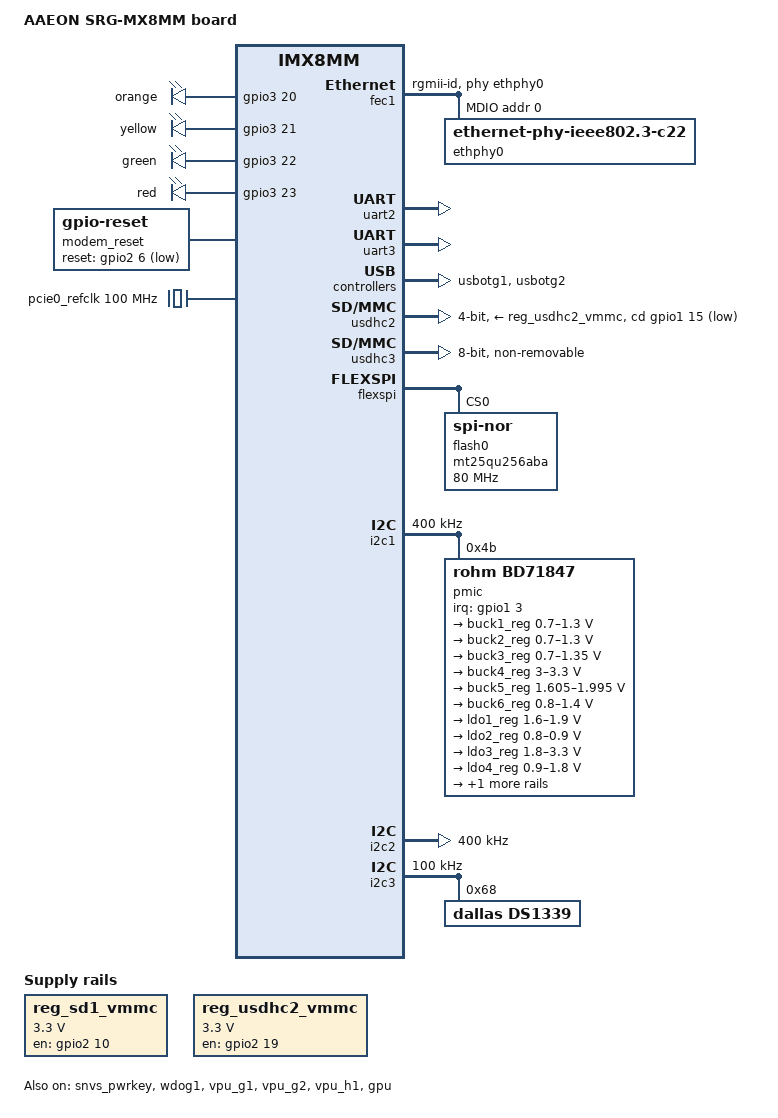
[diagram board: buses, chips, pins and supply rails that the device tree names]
// SPDX-License-Identifier: (GPL-2.0+ OR MIT)
/*
 * Copyright 2019 NXP
 */

/dts-v1/;

#include <dt-bindings/usb/pd.h>
#include "imx8mm.dtsi"

/ {
	model = "AAEON SRG-MX8MM board";
	compatible = "aaeon,srg-mx8mm", "fsl,imx8mm-evk", "fsl,imx8mm";

	reserved-memory {
		#address-cells = <2>;
		#size-cells = <2>;
		ranges;

		rpmsg_reserved: rpmsg@0xb8000000 {
			no-map;
			reg = <0 0xb8000000 0 0x400000>;
		};
	};

	chosen {
		stdout-path = &uart2;
	};

	leds {
		compatible = "gpio-leds";
		pinctrl-names = "default";
		pinctrl-0 = <&pinctrl_gpio_led>;

		orange {
			lable = "orange";
			default-state="none";
			gpios = <&gpio3 20 GPIO_ACTIVE_HIGH>;
		};

		yellow {
			lable = "yellow";
			default-state="none";
			gpios = <&gpio3 21 GPIO_ACTIVE_HIGH>;
		};

		green {
			lable = "green";
			default-state="none";
			gpios = <&gpio3 22 GPIO_ACTIVE_HIGH>;
		};

		red {
			lable = "red";
			default-state="none";
			gpios = <&gpio3 23 GPIO_ACTIVE_HIGH>;
		};
	};

	modem_reset: modem-reset {
		compatible = "gpio-reset";
		reset-gpios = <&gpio2 6 GPIO_ACTIVE_LOW>;
		reset-delay-us = <2000>;
		reset-post-delay-ms = <40>;
		#reset-cells = <0>;
	};

	pcie0_refclk: pcie0-refclk {
		compatible = "fixed-clock";
		#clock-cells = <0>;
		clock-frequency = <100000000>;
	};

	reg_sd1_vmmc: sd1_regulator {
		compatible = "regulator-fixed";
		regulator-name = "WLAN_EN";
		regulator-min-microvolt = <3300000>;
		regulator-max-microvolt = <3300000>;
		gpio = <&gpio2 10 GPIO_ACTIVE_HIGH>;
		off-on-delay-us = <20000>;
		startup-delay-us = <100>;
		enable-active-high;
	};

	reg_usdhc2_vmmc: regulator-usdhc2 {
		compatible = "regulator-fixed";
		pinctrl-names = "default";
		pinctrl-0 = <&pinctrl_reg_usdhc2_vmmc>;
		regulator-name = "VSD_3V3";
		regulator-min-microvolt = <3300000>;
		regulator-max-microvolt = <3300000>;
		gpio = <&gpio2 19 GPIO_ACTIVE_HIGH>;
		off-on-delay-us = <20000>;
		enable-active-high;
	};
};

&A53_0 {
	cpu-supply = <&buck2_reg>;
};

&fec1 {
	pinctrl-names = "default";
	pinctrl-0 = <&pinctrl_fec1>;
	phy-mode = "rgmii-id";
	phy-handle = <&ethphy0>;
	fsl,magic-packet;
	status = "okay";

	mdio {
		#address-cells = <1>;
		#size-cells = <0>;

		ethphy0: ethernet-phy@0 {
			compatible = "ethernet-phy-ieee802.3-c22";
			reg = <0>;
			at803x,eee-disabled;
			at803x,vddio-1p8v;
		};
	};
};

&pcie0{
	pinctrl-names = "default";
	pinctrl-0 = <&pinctrl_pcie0>;
	disable-gpio = <&gpio1 5 GPIO_ACTIVE_LOW>;
	reset-gpio = <&gpio4 21 GPIO_ACTIVE_LOW>;
	clocks = <&clk IMX8MM_CLK_PCIE1_ROOT>,
		 <&clk IMX8MM_CLK_PCIE1_AUX>,
		 <&clk IMX8MM_CLK_PCIE1_PHY>,
		 <&pcie0_refclk>;
	clock-names = "pcie", "pcie_aux", "pcie_phy", "pcie_bus";
	ext_osc = <1>;
	reserved-region = <&rpmsg_reserved>;
	status = "disabled";
};

&snvs_pwrkey {
	status = "okay";
};

&uart2 { /* console */
	pinctrl-names = "default";
	pinctrl-0 = <&pinctrl_uart2>;
	status = "okay";
};

&uart3 {
	pinctrl-names = "default";
	pinctrl-0 = <&pinctrl_uart3>;
	assigned-clocks = <&clk IMX8MM_CLK_UART3>;
	assigned-clock-parents = <&clk IMX8MM_SYS_PLL1_80M>;
	fsl,uart-has-rtscts;
	status = "okay";
};


&usbotg1 {
	status = "okay";
};

&usbotg2 {
	status = "okay";
};


&usdhc2 {
	pinctrl-names = "default", "state_100mhz", "state_200mhz";
	pinctrl-0 = <&pinctrl_usdhc2>, <&pinctrl_usdhc2_gpio>;
	pinctrl-1 = <&pinctrl_usdhc2_100mhz>, <&pinctrl_usdhc2_gpio>;
	pinctrl-2 = <&pinctrl_usdhc2_200mhz>, <&pinctrl_usdhc2_gpio>;
	cd-gpios = <&gpio1 15 GPIO_ACTIVE_LOW>;
	bus-width = <4>;
	vmmc-supply = <&reg_usdhc2_vmmc>;
	status = "okay";
};

&usdhc3 {
	pinctrl-names = "default", "state_100mhz", "state_200mhz";
	pinctrl-0 = <&pinctrl_usdhc3>;
	pinctrl-1 = <&pinctrl_usdhc3_100mhz>;
	pinctrl-2 = <&pinctrl_usdhc3_200mhz>;
	bus-width = <8>;
	non-removable;
	status = "okay";
};

&wdog1 {
	pinctrl-names = "default";
	pinctrl-0 = <&pinctrl_wdog>;
	fsl,ext-reset-output;
	status = "okay";
};

&flexspi {
	pinctrl-names = "default";
	pinctrl-0 = <&pinctrl_flexspi0>;
	status = "okay";

	flash0: mt25qu256aba@0 {
		reg = <0>;
		#address-cells = <1>;
		#size-cells = <1>;
		compatible = "jedec,spi-nor";
		spi-max-frequency = <80000000>;
		spi-tx-bus-width = <4>;
		spi-rx-bus-width = <4>;
	};
};

&i2c1 {
	clock-frequency = <400000>;
	pinctrl-names = "default";
	pinctrl-0 = <&pinctrl_i2c1>;
	status = "okay";

	pmic@4b {
		compatible = "rohm,bd71847";
		reg = <0x4b>;
		pinctrl-0 = <&pinctrl_pmic>;
		interrupt-parent = <&gpio1>;
		interrupts = <3 GPIO_ACTIVE_LOW>;
		rohm,reset-snvs-powered;

		regulators {
			buck1_reg: BUCK1 {
				regulator-name = "BUCK1";
				regulator-min-microvolt = <700000>;
				regulator-max-microvolt = <1300000>;
				regulator-boot-on;
				regulator-always-on;
				regulator-ramp-delay = <1250>;
			};

			buck2_reg: BUCK2 {
				regulator-name = "BUCK2";
				regulator-min-microvolt = <700000>;
				regulator-max-microvolt = <1300000>;
				regulator-boot-on;
				regulator-always-on;
				regulator-ramp-delay = <1250>;
				rohm,dvs-run-voltage = <1000000>;
				rohm,dvs-idle-voltage = <900000>;
			};

			buck3_reg: BUCK3 {
				// BUCK5 in datasheet
				regulator-name = "BUCK3";
				regulator-min-microvolt = <700000>;
				regulator-max-microvolt = <1350000>;
				regulator-boot-on;
				regulator-always-on;
			};

			buck4_reg: BUCK4 {
				// BUCK6 in datasheet
				regulator-name = "BUCK4";
				regulator-min-microvolt = <3000000>;
				regulator-max-microvolt = <3300000>;
				regulator-boot-on;
				regulator-always-on;
			};

			buck5_reg: BUCK5 {
				// BUCK7 in datasheet
				regulator-name = "BUCK5";
				regulator-min-microvolt = <1605000>;
				regulator-max-microvolt = <1995000>;
				regulator-boot-on;
				regulator-always-on;
			};

			buck6_reg: BUCK6 {
				// BUCK8 in datasheet
				regulator-name = "BUCK6";
				regulator-min-microvolt = <800000>;
				regulator-max-microvolt = <1400000>;
				regulator-boot-on;
				regulator-always-on;
			};

			ldo1_reg: LDO1 {
				regulator-name = "LDO1";
				regulator-min-microvolt = <1600000>;
				regulator-max-microvolt = <1900000>;
				regulator-boot-on;
				regulator-always-on;
			};

			ldo2_reg: LDO2 {
				regulator-name = "LDO2";
				regulator-min-microvolt = <800000>;
				regulator-max-microvolt = <900000>;
				regulator-boot-on;
				regulator-always-on;
			};

			ldo3_reg: LDO3 {
				regulator-name = "LDO3";
				regulator-min-microvolt = <1800000>;
				regulator-max-microvolt = <3300000>;
				regulator-boot-on;
				regulator-always-on;
			};

			ldo4_reg: LDO4 {
				regulator-name = "LDO4";
				regulator-min-microvolt = <900000>;
				regulator-max-microvolt = <1800000>;
				regulator-boot-on;
				regulator-always-on;
			};

			ldo6_reg: LDO6 {
				regulator-name = "LDO6";
				regulator-min-microvolt = <900000>;
				regulator-max-microvolt = <1800000>;
				regulator-boot-on;
				regulator-always-on;
			};
		};
	};
};

&i2c2 {
	clock-frequency = <400000>;
	pinctrl-names = "default";
	pinctrl-0 = <&pinctrl_i2c2>;
	status = "okay";
};

&i2c3 {
	clock-frequency = <100000>;
	pinctrl-names = "default";
	pinctrl-0 = <&pinctrl_i2c3>;
	status = "okay";

	ds1339: rtc@68 {
		compatible = "dallas,ds1339";
		trickle-resistor-ohms = <250>;
		reg = <0x68>;
		status = "okay";
	};
};

&iomuxc {
	pinctrl-names = "default";

	pinctrl_fec1: fec1grp {
		fsl,pins = <
			MX8MM_IOMUXC_ENET_MDC_ENET1_MDC			0x3
			MX8MM_IOMUXC_ENET_MDIO_ENET1_MDIO		0x3
			MX8MM_IOMUXC_ENET_TD3_ENET1_RGMII_TD3		0x1f
			MX8MM_IOMUXC_ENET_TD2_ENET1_RGMII_TD2		0x1f
			MX8MM_IOMUXC_ENET_TD1_ENET1_RGMII_TD1		0x1f
			MX8MM_IOMUXC_ENET_TD0_ENET1_RGMII_TD0		0x1f
			MX8MM_IOMUXC_ENET_RD3_ENET1_RGMII_RD3		0x91
			MX8MM_IOMUXC_ENET_RD2_ENET1_RGMII_RD2		0x91
			MX8MM_IOMUXC_ENET_RD1_ENET1_RGMII_RD1		0x91
			MX8MM_IOMUXC_ENET_RD0_ENET1_RGMII_RD0		0x91
			MX8MM_IOMUXC_ENET_TXC_ENET1_RGMII_TXC		0x1f
			MX8MM_IOMUXC_ENET_RXC_ENET1_RGMII_RXC		0x91
			MX8MM_IOMUXC_ENET_RX_CTL_ENET1_RGMII_RX_CTL	0x91
			MX8MM_IOMUXC_ENET_TX_CTL_ENET1_RGMII_TX_CTL	0x1f
			MX8MM_IOMUXC_SAI2_RXC_GPIO4_IO22			0x19
		>;
	};

	pinctrl_flexspi0: flexspi0grp {
		fsl,pins = <
			MX8MM_IOMUXC_NAND_ALE_QSPI_A_SCLK               0x1c2
			MX8MM_IOMUXC_NAND_CE0_B_QSPI_A_SS0_B            0x82
			MX8MM_IOMUXC_NAND_DATA00_QSPI_A_DATA0           0x82
			MX8MM_IOMUXC_NAND_DATA01_QSPI_A_DATA1           0x82
			MX8MM_IOMUXC_NAND_DATA02_QSPI_A_DATA2           0x82
			MX8MM_IOMUXC_NAND_DATA03_QSPI_A_DATA3           0x82
		>;
	};

	pinctrl_gpio_led: gpioledgrp {
		fsl,pins = <
			/* ORANGE_EN -- GPIO3_IO20 */
			MX8MM_IOMUXC_SAI5_RXC_GPIO3_IO20		0x19
			/* YELLOW_EN -- GPIO3_IO21 */
			MX8MM_IOMUXC_SAI5_RXD0_GPIO3_IO21		0x19
			/* GREEN_EN  -- GPIO3_IO22 */
			MX8MM_IOMUXC_SAI5_RXD1_GPIO3_IO22		0x19
			/* RED_EN    -- GPIO3_IO23 */
			MX8MM_IOMUXC_SAI5_RXD2_GPIO3_IO23		0x19
		>;
	};

	pinctrl_i2c1: i2c1grp {
		fsl,pins = <
			MX8MM_IOMUXC_I2C1_SCL_I2C1_SCL			0x400001c3
			MX8MM_IOMUXC_I2C1_SDA_I2C1_SDA			0x400001c3
		>;
	};

	pinctrl_i2c2: i2c2grp {
		fsl,pins = <
			MX8MM_IOMUXC_I2C2_SCL_I2C2_SCL			0x400001c3
			MX8MM_IOMUXC_I2C2_SDA_I2C2_SDA			0x400001c3
		>;
	};

	pinctrl_i2c3: i2c3grp {
		fsl,pins = <
			MX8MM_IOMUXC_I2C3_SCL_I2C3_SCL			0x400001c3
			MX8MM_IOMUXC_I2C3_SDA_I2C3_SDA			0x400001c3
		>;
	};

	pinctrl_pcie0: pcie0grp {
		fsl,pins = <
			MX8MM_IOMUXC_I2C4_SCL_PCIE1_CLKREQ_B	0x61 /* open drain, pull up */
			MX8MM_IOMUXC_GPIO1_IO05_GPIO1_IO5	0x41
			MX8MM_IOMUXC_SAI2_RXFS_GPIO4_IO21	0x41
		>;
	};

	pinctrl_pmic: pmicirq {
		fsl,pins = <
			MX8MM_IOMUXC_GPIO1_IO03_GPIO1_IO3		0x41
		>;
	};

	pinctrl_reg_usdhc2_vmmc: regusdhc2vmmc {
		fsl,pins = <
			MX8MM_IOMUXC_SD2_RESET_B_GPIO2_IO19	0x41
		>;
	};

	pinctrl_uart2: uart2grp {
		fsl,pins = <
			MX8MM_IOMUXC_UART2_RXD_UART2_DCE_RX	0x140
			MX8MM_IOMUXC_UART2_TXD_UART2_DCE_TX	0x140
		>;
	};

	pinctrl_uart3: uart3grp {
		fsl,pins = <
			MX8MM_IOMUXC_ECSPI1_SCLK_UART3_DCE_RX		0x140
			MX8MM_IOMUXC_ECSPI1_MOSI_UART3_DCE_TX		0x140
			MX8MM_IOMUXC_ECSPI1_SS0_UART3_DCE_RTS_B		0x140
			MX8MM_IOMUXC_ECSPI1_MISO_UART3_DCE_CTS_B	0x140
		>;
	};

	pinctrl_usdhc1_gpio: usdhc1grpgpio {
		fsl,pins = <
			MX8MM_IOMUXC_SD1_RESET_B_GPIO2_IO10	0x41
		>;
	};

	pinctrl_usdhc1: usdhc1grp {
		fsl,pins = <
			MX8MM_IOMUXC_SD1_CLK_USDHC1_CLK		0x190
			MX8MM_IOMUXC_SD1_CMD_USDHC1_CMD		0x1d0
			MX8MM_IOMUXC_SD1_DATA0_USDHC1_DATA0	0x1d0
			MX8MM_IOMUXC_SD1_DATA1_USDHC1_DATA1	0x1d0
			MX8MM_IOMUXC_SD1_DATA2_USDHC1_DATA2	0x1d0
			MX8MM_IOMUXC_SD1_DATA3_USDHC1_DATA3	0x1d0
		>;
	};

	pinctrl_usdhc1_100mhz: usdhc1grp100mhz {
		fsl,pins = <
			MX8MM_IOMUXC_SD1_CLK_USDHC1_CLK		0x194
			MX8MM_IOMUXC_SD1_CMD_USDHC1_CMD		0x1d4
			MX8MM_IOMUXC_SD1_DATA0_USDHC1_DATA0	0x1d4
			MX8MM_IOMUXC_SD1_DATA1_USDHC1_DATA1	0x1d4
			MX8MM_IOMUXC_SD1_DATA2_USDHC1_DATA2	0x1d4
			MX8MM_IOMUXC_SD1_DATA3_USDHC1_DATA3	0x1d4
		>;
	};

	pinctrl_usdhc1_200mhz: usdhc1grp200mhz {
		fsl,pins = <
			MX8MM_IOMUXC_SD1_CLK_USDHC1_CLK		0x196
			MX8MM_IOMUXC_SD1_CMD_USDHC1_CMD		0x1d6
			MX8MM_IOMUXC_SD1_DATA0_USDHC1_DATA0	0x1d6
			MX8MM_IOMUXC_SD1_DATA1_USDHC1_DATA1	0x1d6
			MX8MM_IOMUXC_SD1_DATA2_USDHC1_DATA2	0x1d6
			MX8MM_IOMUXC_SD1_DATA3_USDHC1_DATA3	0x1d6
		>;
	};

	pinctrl_usdhc2_gpio: usdhc2grpgpio {
		fsl,pins = <
			MX8MM_IOMUXC_GPIO1_IO15_GPIO1_IO15	0x1c4
		>;
	};

	pinctrl_usdhc2: usdhc2grp {
		fsl,pins = <
			MX8MM_IOMUXC_SD2_CLK_USDHC2_CLK		0x190
			MX8MM_IOMUXC_SD2_CMD_USDHC2_CMD		0x1d0
			MX8MM_IOMUXC_SD2_DATA0_USDHC2_DATA0	0x1d0
			MX8MM_IOMUXC_SD2_DATA1_USDHC2_DATA1	0x1d0
			MX8MM_IOMUXC_SD2_DATA2_USDHC2_DATA2	0x1d0
			MX8MM_IOMUXC_SD2_DATA3_USDHC2_DATA3	0x1d0
			MX8MM_IOMUXC_GPIO1_IO04_USDHC2_VSELECT	0x1d0
		>;
	};

	pinctrl_usdhc2_100mhz: usdhc2grp100mhz {
		fsl,pins = <
			MX8MM_IOMUXC_SD2_CLK_USDHC2_CLK		0x194
			MX8MM_IOMUXC_SD2_CMD_USDHC2_CMD		0x1d4
			MX8MM_IOMUXC_SD2_DATA0_USDHC2_DATA0	0x1d4
			MX8MM_IOMUXC_SD2_DATA1_USDHC2_DATA1	0x1d4
			MX8MM_IOMUXC_SD2_DATA2_USDHC2_DATA2	0x1d4
			MX8MM_IOMUXC_SD2_DATA3_USDHC2_DATA3	0x1d4
			MX8MM_IOMUXC_GPIO1_IO04_USDHC2_VSELECT	0x1d0
		>;
	};

	pinctrl_usdhc2_200mhz: usdhc2grp200mhz {
		fsl,pins = <
			MX8MM_IOMUXC_SD2_CLK_USDHC2_CLK		0x196
			MX8MM_IOMUXC_SD2_CMD_USDHC2_CMD		0x1d6
			MX8MM_IOMUXC_SD2_DATA0_USDHC2_DATA0	0x1d6
			MX8MM_IOMUXC_SD2_DATA1_USDHC2_DATA1	0x1d6
			MX8MM_IOMUXC_SD2_DATA2_USDHC2_DATA2	0x1d6
			MX8MM_IOMUXC_SD2_DATA3_USDHC2_DATA3	0x1d6
			MX8MM_IOMUXC_GPIO1_IO04_USDHC2_VSELECT	0x1d0
		>;
	};

	pinctrl_usdhc3: usdhc3grp {
		fsl,pins = <
			MX8MM_IOMUXC_NAND_WE_B_USDHC3_CLK		0x190
			MX8MM_IOMUXC_NAND_WP_B_USDHC3_CMD		0x1d0
			MX8MM_IOMUXC_NAND_DATA04_USDHC3_DATA0		0x1d0
			MX8MM_IOMUXC_NAND_DATA05_USDHC3_DATA1		0x1d0
			MX8MM_IOMUXC_NAND_DATA06_USDHC3_DATA2		0x1d0
			MX8MM_IOMUXC_NAND_DATA07_USDHC3_DATA3		0x1d0
			MX8MM_IOMUXC_NAND_RE_B_USDHC3_DATA4		0x1d0
			MX8MM_IOMUXC_NAND_CE2_B_USDHC3_DATA5		0x1d0
			MX8MM_IOMUXC_NAND_CE3_B_USDHC3_DATA6		0x1d0
			MX8MM_IOMUXC_NAND_CLE_USDHC3_DATA7		0x1d0
			MX8MM_IOMUXC_NAND_CE1_B_USDHC3_STROBE 		0x190
		>;
	};

	pinctrl_usdhc3_100mhz: usdhc3grp100mhz {
		fsl,pins = <
			MX8MM_IOMUXC_NAND_WE_B_USDHC3_CLK		0x194
			MX8MM_IOMUXC_NAND_WP_B_USDHC3_CMD		0x1d4
			MX8MM_IOMUXC_NAND_DATA04_USDHC3_DATA0		0x1d4
			MX8MM_IOMUXC_NAND_DATA05_USDHC3_DATA1		0x1d4
			MX8MM_IOMUXC_NAND_DATA06_USDHC3_DATA2		0x1d4
			MX8MM_IOMUXC_NAND_DATA07_USDHC3_DATA3		0x1d4
			MX8MM_IOMUXC_NAND_RE_B_USDHC3_DATA4		0x1d4
			MX8MM_IOMUXC_NAND_CE2_B_USDHC3_DATA5		0x1d4
			MX8MM_IOMUXC_NAND_CE3_B_USDHC3_DATA6		0x1d4
			MX8MM_IOMUXC_NAND_CLE_USDHC3_DATA7		0x1d4
			MX8MM_IOMUXC_NAND_CE1_B_USDHC3_STROBE 		0x194
		>;
	};

	pinctrl_usdhc3_200mhz: usdhc3grp200mhz {
		fsl,pins = <
			MX8MM_IOMUXC_NAND_WE_B_USDHC3_CLK		0x196
			MX8MM_IOMUXC_NAND_WP_B_USDHC3_CMD		0x1d6
			MX8MM_IOMUXC_NAND_DATA04_USDHC3_DATA0		0x1d6
			MX8MM_IOMUXC_NAND_DATA05_USDHC3_DATA1		0x1d6
			MX8MM_IOMUXC_NAND_DATA06_USDHC3_DATA2		0x1d6
			MX8MM_IOMUXC_NAND_DATA07_USDHC3_DATA3		0x1d6
			MX8MM_IOMUXC_NAND_RE_B_USDHC3_DATA4		0x1d6
			MX8MM_IOMUXC_NAND_CE2_B_USDHC3_DATA5		0x1d6
			MX8MM_IOMUXC_NAND_CE3_B_USDHC3_DATA6		0x1d6
			MX8MM_IOMUXC_NAND_CLE_USDHC3_DATA7		0x1d6
			MX8MM_IOMUXC_NAND_CE1_B_USDHC3_STROBE 		0x196
		>;
	};

	pinctrl_wdog: wdoggrp {
		fsl,pins = <
			MX8MM_IOMUXC_GPIO1_IO02_WDOG1_WDOG_B	0xc6
		>;
	};
};

&vpu_g1 {
	status = "okay";
};

&vpu_g2 {
	status = "okay";
};

&vpu_h1 {
	status = "okay";
};

&gpu {
	status = "okay";
};
